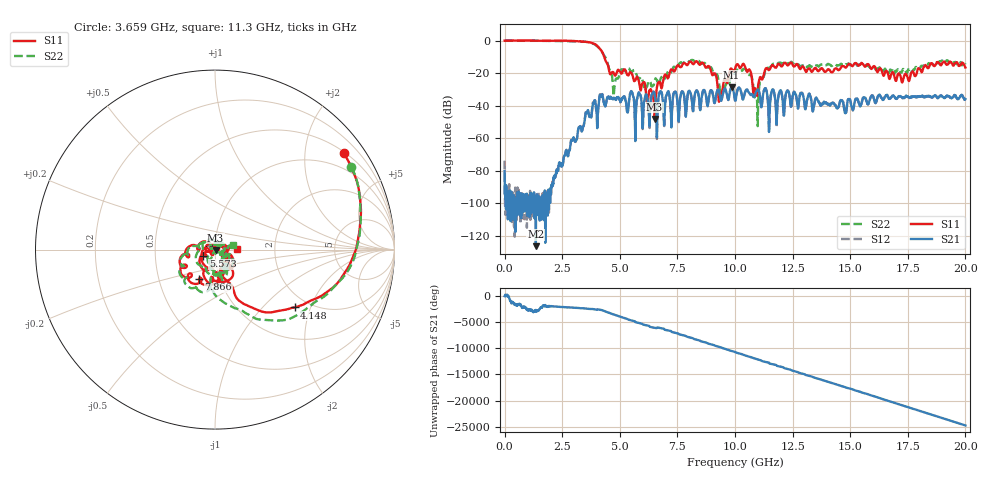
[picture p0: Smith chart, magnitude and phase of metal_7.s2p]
#  HZ  S  RI  R  50.00
! Rohde & Schwarz Vector Network Analyzer
! Rohde-Schwarz,ZNB20-2Port,1311601062102128,3.60
! Created: UTC 4/29/2024, 2:40:43 PM
! freq[Hz]  re:S11  im:S11  re:S21  im:S21  re:S12  im:S12  re:S22  im:S22
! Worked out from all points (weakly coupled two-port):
!   2007 points, 100 kHz to 20 GHz, reference 50 ohm
!   highest |S21| = -28.81 dB at 9.85 GHz (marker M1); lowest = -126.3 dB at 1.356 GHz (marker M2)
!   lowest |S11| = -48.2 dB at 6.511 GHz (marker M3), VSWR 1.01, Z = 50.4 - j0.17 ohm
!   |S11| at or under -10 dB: 4.325 GHz to end of sweep
!   |S22| runs from -52.6 to 0.1 dB; largest |S21 - S12| = 0.0018
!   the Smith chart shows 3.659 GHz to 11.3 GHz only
!   S11 on the Smith chart (normalised r, x): 3.659 GHz: 0.53, +2.92; 4.148 GHz: 1.69, -1.56; 5.573 GHz: 0.88, -0.06; 7.866 GHz: 0.79, -0.27; 11.3 GHz: 1.27, +0.01
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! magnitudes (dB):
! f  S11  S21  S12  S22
! 100 kHz  0.0  -80.3  -73.8  0.1
! 1.356 GHz  -0.1  -126.3  -99.9  -0.1
! 2.233 GHz  0.0  -81.0  -82.1  -0.3
! 3.34 GHz  -0.6  -55.7  -55.4  -0.6
! 3.659 GHz  -0.9  -45.6  -45.5  -1.0
! 4.148 GHz  -5.2  -33.3  -32.9  -5.1
! 4.756 GHz  -20.5  -35.6  -35.8  -30.3
! 5.573 GHz  -22.6  -34.0  -34.0  -18.4
! 6.511 GHz  -48.2  -33.0  -33.0  -25.0
! 6.67 GHz  -25.8  -36.1  -36.3  -26.9
! 7.866 GHz  -14.5  -46.7  -46.7  -12.2
! 8.863 GHz  -15.7  -35.2  -35.2  -16.6
! 9.362 GHz  -33.0  -35.4  -35.5  -32.9
! 9.85 GHz  -17.3  -28.8  -28.8  -20.4
! 10 GHz  -17.4  -36.8  -36.7  -20.4
! 10.65 GHz  -18.2  -32.8  -32.7  -20.8
! 10.93 GHz  -32.1  -31.0  -31.0  -33.1
! 11.3 GHz  -18.4  -29.5  -29.4  -19.5
! 11.48 GHz  -18.1  -56.1  -54.8  -17.0
! 13.34 GHz  -19.2  -39.8  -39.7  -16.0
! 16.67 GHz  -22.2  -35.4  -35.4  -20.3
! 20 GHz  -16.5  -35.9  -35.9  -13.9
